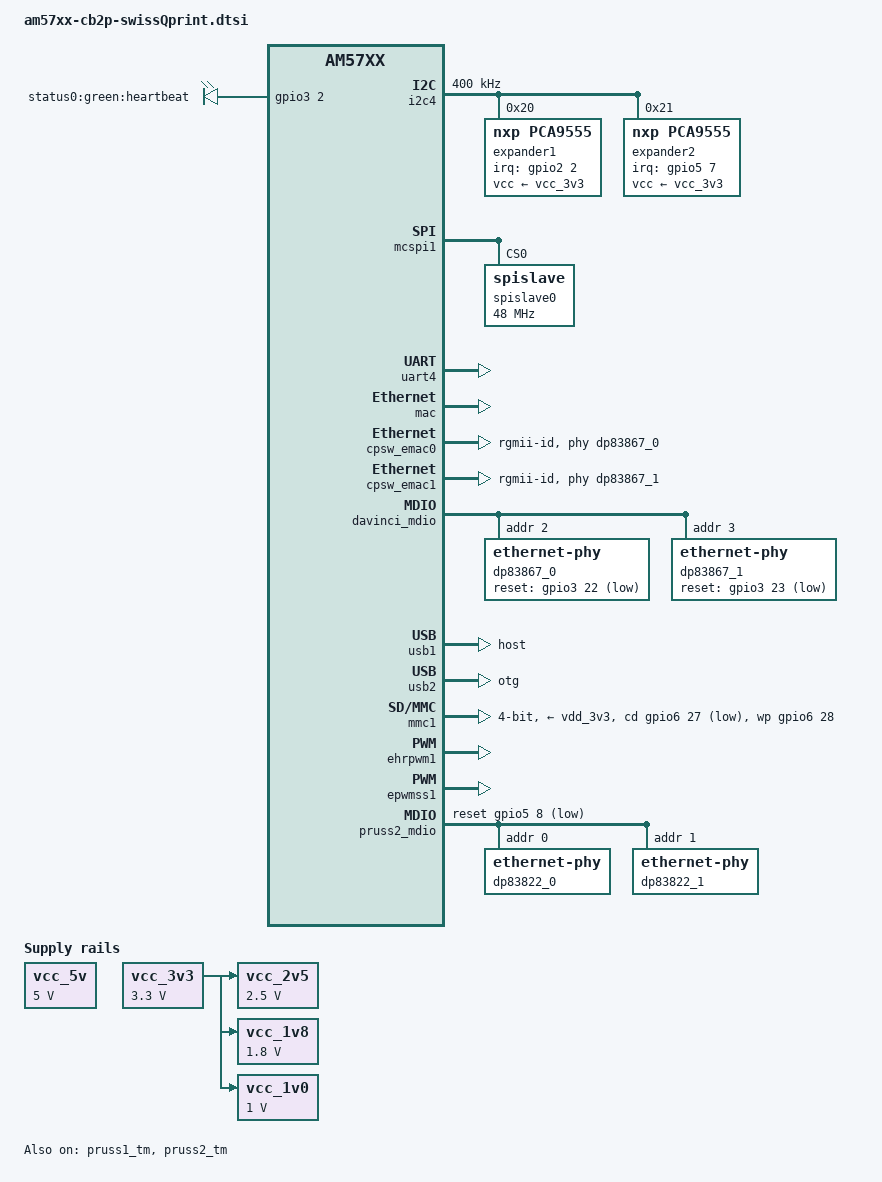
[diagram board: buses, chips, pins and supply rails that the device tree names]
// SPDX-License-Identifier: (GPL-2.0+ OR MIT)
/*
 * Device Tree file for TQ AM57xx baseboard MBa57xx.
 *
 * Copyright 2020 TQ-Systems GmbH
 *
 * Author: Michael Krummsdorf <michael.krummsdorf@tq-group.com>
 */

#include <dt-bindings/gpio/gpio.h>
#include <dt-bindings/interrupt-controller/irq.h>
#include <dt-bindings/net/ti-dp83867.h>
#include <dt-bindings/input/input.h>

/ {

	aliases {
		spi1 = &mcspi1;
	};

	chosen {
		stdout-path = &uart4;
	};

	buttons: user_buttons {
		compatible = "gpio-keys";
	};

	vcc_5v: fixedregulator-vcc_5v {
		compatible = "regulator-fixed";
		regulator-name = "VCC5V";
		regulator-min-microvolt = <5000000>;
		regulator-max-microvolt = <5000000>;
		regulator-always-on;
		regulator-boot-on;
	};

	vcc_3v3: fixedregulator-vcc_3v3 {
		compatible = "regulator-fixed";
		regulator-name = "VCC3V3";
		regulator-min-microvolt = <3300000>;
		regulator-max-microvolt = <3300000>;
		regulator-always-on;
		regulator-boot-on;
	};

	vcc_2v5: fixedregulator-vcc_2v5 {
		/* AP7361C  */
		compatible = "regulator-fixed";
		regulator-name = "VCC2V5";
		vin-supply = <&vcc_3v3>;
		regulator-min-microvolt = <2500000>;
		regulator-max-microvolt = <2500000>;
		regulator-always-on;
		regulator-boot-on;
	};

	vcc_1v8: fixedregulator-vcc_1v8 {
		/* AP7361C  */
		compatible = "regulator-fixed";
		regulator-name = "VCC1V8";
		vin-supply = <&vcc_3v3>;
		regulator-min-microvolt = <1800000>;
		regulator-max-microvolt = <1800000>;
		regulator-always-on;
		regulator-boot-on;
	};

	vcc_1v0: fixedregulator-vcc_1v0 {
		/* TPS62090RGT */
		compatible = "regulator-fixed";
		regulator-name = "VCC1V0";
		vin-supply = <&vcc_3v3>;
		regulator-min-microvolt = <1000000>;
		regulator-max-microvolt = <1000000>;
		regulator-always-on;
		regulator-boot-on;
	};

	status-leds {
		compatible = "gpio-leds";
		heartbeat-led {
			label = "status0:green:heartbeat";
			gpios = <&gpio3 2 GPIO_ACTIVE_HIGH>;
			default-state = "off";
			linux,default-trigger = "heartbeat";
		};
		cpu0-led {
			label = "status0:green:cpu0";
			gpios = <&gpio3 3 GPIO_ACTIVE_HIGH>;
			default-state = "off";
			linux,default-trigger = "cpu0";
    		status = "disabled";
		};
		cpu1-led {
			label = "status0:green:cpu1";
			gpios = <&gpio2 30 GPIO_ACTIVE_HIGH>;
			default-state = "off";
			linux,default-trigger = "cpu1";
    		status = "disabled";
		};
		error-led {
			label = "status0:red:error";
			gpios = <&gpio2 31 GPIO_ACTIVE_HIGH>;
			default-state = "off";
    		status = "disabled";
		};

	};

    
	/* Dual-MAC Ethernet application node on PRU-ICSS2 */
	pruss2_eth: pruss2_eth {
		compatible = "ti,am57-prueth";
		prus = <&pru2_0>, <&pru2_1>;
		firmware-name = "ti-pruss/am57xx-pru0-prueth-fw.elf",
				"ti-pruss/am57xx-pru1-prueth-fw.elf";
		sram = <&ocmcram1>;
		interrupt-parent = <&pruss2_intc>;
		mii-rt = <&pruss2_mii_rt>;
		iep = <&pruss2_iep>;

		pruss2_emac0: ethernet-mii0 {
			phy-handle = <&dp83822_0>;
			phy-mode = "mii";
			interrupts = <20>, <22>;
			interrupt-names = "rx", "tx";
			/* Filled in by bootloader */
			local-mac-address = [00 00 00 00 00 00];
		};

		pruss2_emac1: ethernet-mii1 {
			phy-handle = <&dp83822_1>;
			phy-mode = "mii";
			interrupts = <21>, <23>;
			interrupt-names = "rx", "tx";
			/* Filled in by bootloader */
			local-mac-address = [00 00 00 00 00 00];
		};
	};
};

&dra7_pmx_core {
	spi1_pins: pinmux_spi1_pins {
		pinctrl-single,pins = <
			DRA7XX_CORE_IOPAD(0x37a4, PIN_INPUT_PULLDOWN | MUX_MODE0)      /* spi1_sclk */
			DRA7XX_CORE_IOPAD(0x37a8, PIN_INPUT_PULLDOWN | MUX_MODE0)      /* spi1_d1 */
			DRA7XX_CORE_IOPAD(0x37ac, PIN_OUTPUT | MUX_MODE0)              /* spi1_d0 */
			DRA7XX_CORE_IOPAD(0x37b0, PIN_INPUT_PULLUP | MUX_MODE0)        /* spi1_cs0 */
		>;
	};

	usb2_id_pin: usb2_id_pin {
		pinctrl-single,pins = <
			DRA7XX_CORE_IOPAD(0x3824, PIN_INPUT | MUX_MODE14)	/* WAKEUP3.gpio1_3 */
		>;
	};
};

&i2c4 {
	status = "okay";
	clock-frequency = <400000>;

	/* Input/Output GPIO Port Expander 16 bit */
	expander1: pca9555@20 {
		compatible = "nxp,pca9555";
		reg = <0x20>;
		interrupt-parent = <&gpio2>;
		interrupts = <2 IRQ_TYPE_EDGE_FALLING>;
		interrupt-controller;
		#interrupt-cells = <2>;
		gpio-controller;
		#gpio-cells = <2>;
		vcc-supply = <&vcc_3v3>;
		status = "okay";
		wakeup-source;
	};

	/* Output GPIO Port Expander 16 bit */
	expander2: pca9555@21 {
		compatible = "nxp,pca9555";
		reg = <0x21>;
		interrupt-parent = <&gpio5>;
		interrupts = <7 IRQ_TYPE_EDGE_FALLING>;
		interrupt-controller;
		#interrupt-cells = <2>;
		gpio-controller;
		#gpio-cells = <2>;
		vcc-supply = <&vcc_3v3>;
		status = "okay";
		wakeup-source;
	};
};

&mcspi1 {
	compatible = "sqp,spi-mcspi-slave";
    pinctrl-names = "default";
    pinctrl-0 = <&spi1_pins>;
    status = "okay";
	
	spislave0@0 {
		compatible = "linux,spislave";
		spi-max-frequency = <48000000>;
		reg = <0>; /* chip select 0*/   
	};
};

/* Debug UART */
&uart4 {
	status = "okay";
	interrupts-extended = <&crossbar_mpu GIC_SPI 65 IRQ_TYPE_LEVEL_HIGH
			       &dra7_pmx_core 0x33c>;
	wakeup-source;
};

&mac {
	status = "okay";
	dual_emac;
};

&cpsw_emac0 {
	phy-handle = <&dp83867_0>;
	phy-connection-type = "rgmii-id";
	dual_emac_res_vlan = <1>;
};

&cpsw_emac1 {
	phy-handle = <&dp83867_1>;
	phy-connection-type = "rgmii-id";
	dual_emac_res_vlan = <2>;
};

&davinci_mdio {
	dp83867_0: ethernet-phy@2 {
		reg = <2>;
		ti,rx-internal-delay = <DP83867_RGMIIDCTL_2_25_NS>;
		ti,tx-internal-delay = <DP83867_RGMIIDCTL_250_PS>;
		ti,fifo-depth = <DP83867_PHYCR_FIFO_DEPTH_8_B_NIB>;
		ti,min-output-impedance;
		reset-gpio = <&gpio3 22 GPIO_ACTIVE_LOW>;
    	reset-delay-us = <2>;   /* PHY datasheet states 1us min */
		reset-assert-us = <2>;  /* PHY datasheet states 1us min */
		reset-deassert-us = <2>;
	};

	dp83867_1: ethernet-phy@3 {
		reg = <3>;
		ti,rx-internal-delay = <DP83867_RGMIIDCTL_2_25_NS>;
		ti,tx-internal-delay = <DP83867_RGMIIDCTL_250_PS>;
		ti,fifo-depth = <DP83867_PHYCR_FIFO_DEPTH_8_B_NIB>;
		ti,min-output-impedance;
		reset-gpio = <&gpio3 23 GPIO_ACTIVE_LOW>;
    	reset-delay-us = <2>;   /* PHY datasheet states 1us min */
		reset-assert-us = <2>;
		reset-deassert-us = <2>;
	};
};

&usb1 {
	dr_mode = "host";
};

&usb2 {
	pinctrl-names = "default";
	pinctrl-0 = <&usb2_id_pin>;
	dr_mode = "otg";
};

/* sd card */
&mmc1 {
	status = "okay";
	vmmc-supply = <&vdd_3v3>;
	vmmc_aux-supply = <&ldo1_reg>;
	bus-width = <4>;
	cd-gpios = <&gpio6 27 GPIO_ACTIVE_LOW>; /* gpio 219 */
	wp-gpios = <&gpio6 28 GPIO_ACTIVE_HIGH>; /* gpio 220 */
	pinctrl-names = "default", "hs";
	pinctrl-0 = <&mmc1_pins_default>;
	pinctrl-1 = <&mmc1_pins_hs>;
};

&ehrpwm1 {
	status = "okay";
};

&epwmss1 {
	status = "okay";
};

&mailbox3 {
	status = "okay";
	mbox_pru1_0: mbox_pru1_0 {
		status = "okay";
	};
	mbox_pru1_1: mbox_pru1_1 {
		status = "okay";
	};
};

&mailbox4 {
	status = "okay";
	mbox_pru2_0: mbox_pru2_0 {
		status = "okay";
	};
	mbox_pru2_1: mbox_pru2_1 {
		status = "okay";
	};
};

&pruss1_tm {
	status = "okay";
};

&pruss2_tm {
	status = "okay";
};

&pruss2_mdio {
	status = "okay";
	reset-gpios = <&gpio5 8 GPIO_ACTIVE_LOW>, <&gpio5 9 GPIO_ACTIVE_LOW>;
	reset-assert-us = <20>;		/* DP83822 min 10 us reset pulse according datasheet */
	reset-deassert-us = <20>;
	dp83822_0: ethernet-phy@0 {
		reg = <0>;
	};

	dp83822_1: ethernet-phy@1 {
		reg = <1>;
	};
};

&omap_dwc3_2 {
	extcon = <&extcon_usb2>;
};
